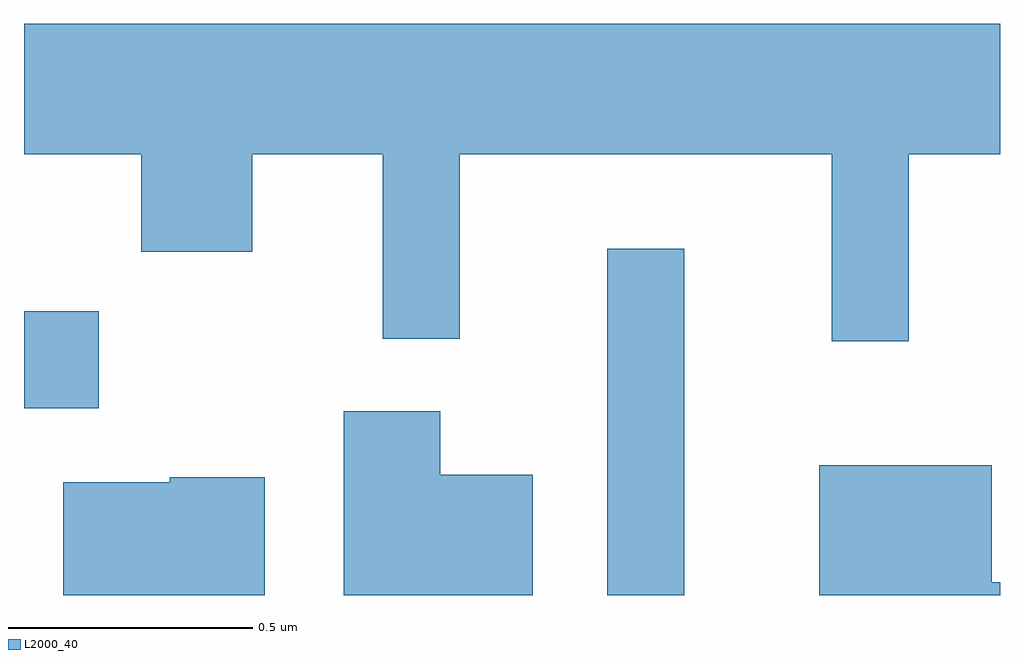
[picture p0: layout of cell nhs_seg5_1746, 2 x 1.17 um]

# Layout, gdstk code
import gdstk
lib = gdstk.Library(unit=1e-6, precision=1e-09)
def R(c, l, rs):  # rectangles x0, y0, x1, y1
    for r in rs: c.add(gdstk.rectangle(r[:2], r[2:], *l))
def P(c, l, *ps):  # polygons
    for p in ps: c.add(gdstk.Polygon(p, *l))
L2000_40 = (2000, 40)

nhs_seg5_1746 = lib.new_cell('nhs_seg5_1746')
R(nhs_seg5_1746, L2000_40, [(198.806,1498.072,198.964,1498.783), (197.611,1498.456,197.764,1498.654)])
P(nhs_seg5_1746, L2000_40, [(199.424,1498.976),(199.611,1498.976),(199.611,1499.244),(197.611,1499.244),(197.611,1498.976),(197.851,1498.976),(197.851,1498.776),(198.079,1498.776),(198.079,1498.976),(198.346,1498.976),(198.346,1498.598),(198.504,1498.598),(198.504,1498.976),(199.266,1498.976),(199.266,1498.593),(199.424,1498.593)],
  [(198.654,1498.319),(198.464,1498.319),(198.464,1498.449),(198.266,1498.449),(198.266,1498.072),(198.654,1498.072)],
  [(199.611,1498.099),(199.594,1498.099),(199.594,1498.339),(199.241,1498.339),(199.241,1498.072),(199.611,1498.072)],
  [(198.104,1498.314),(197.91,1498.314),(197.91,1498.304),(197.691,1498.304),(197.691,1498.072),(198.104,1498.072)])

lib.write_gds('nhs_seg5_1746.gds')
